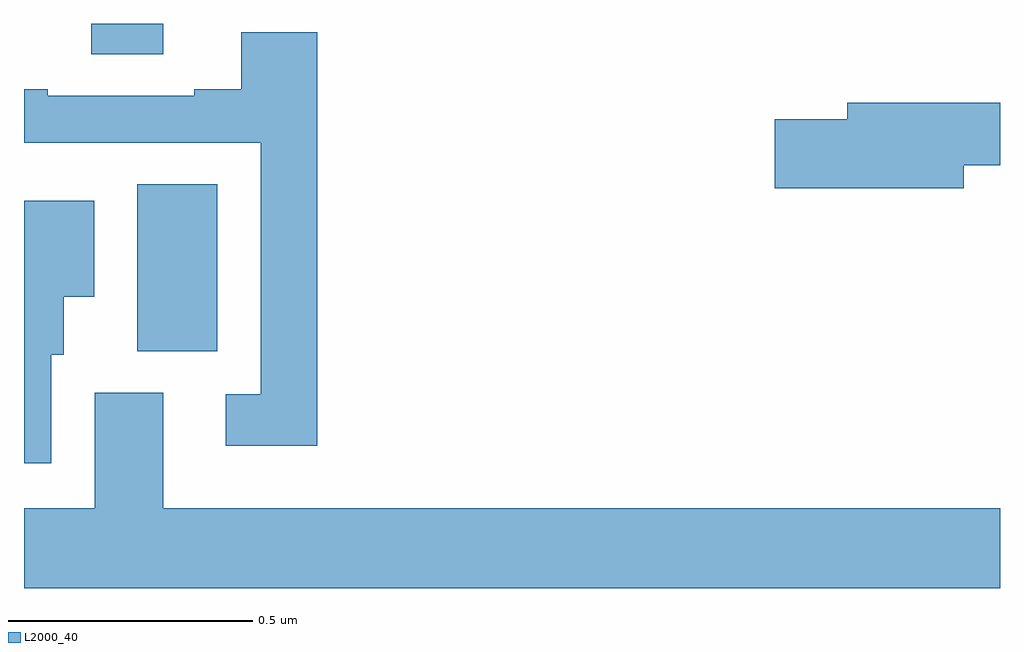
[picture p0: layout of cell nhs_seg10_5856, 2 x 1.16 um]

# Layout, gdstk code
import gdstk
lib = gdstk.Library(unit=1e-6, precision=1e-09)
def R(c, l, rs):  # rectangles x0, y0, x1, y1
    for r in rs: c.add(gdstk.rectangle(r[:2], r[2:], *l))
def P(c, l, *ps):  # polygons
    for p in ps: c.add(gdstk.Polygon(p, *l))
L2000_40 = (2000, 40)

nhs_seg10_5856 = lib.new_cell('nhs_seg10_5856')
R(nhs_seg10_5856, L2000_40, [(184.232,1272.829,184.396,1273.172), (184.138,1273.438,184.285,1273.5)])
P(nhs_seg10_5856, L2000_40, [(184.601,1273.483),(184.445,1273.483),(184.445,1273.366),(184.349,1273.366),(184.349,1273.353),(184.049,1273.353),(184.049,1273.366),(184,1273.366),(184,1273.257),(184.485,1273.257),(184.485,1272.741),(184.413,1272.741),(184.413,1272.636),(184.601,1272.636)],
  [(185.926,1273.21),(186,1273.21),(186,1273.339),(185.687,1273.339),(185.687,1273.305),(185.538,1273.305),(185.538,1273.163),(185.926,1273.163)],
  [(184.056,1272.822),(184.081,1272.822),(184.081,1272.941),(184.144,1272.941),(184.144,1273.138),(184,1273.138),(184,1272.6),(184.056,1272.6)],
  [(186,1272.508),(184.285,1272.508),(184.285,1272.744),(184.145,1272.744),(184.145,1272.508),(184,1272.508),(184,1272.344),(186,1272.344)])

lib.write_gds('nhs_seg10_5856.gds')
